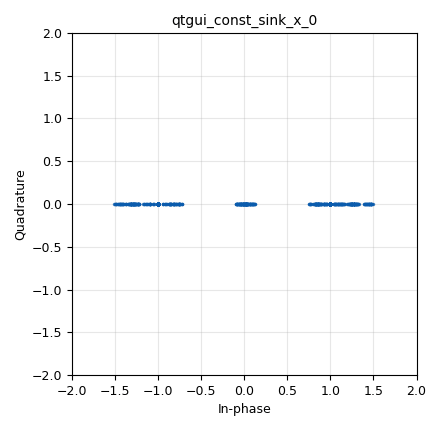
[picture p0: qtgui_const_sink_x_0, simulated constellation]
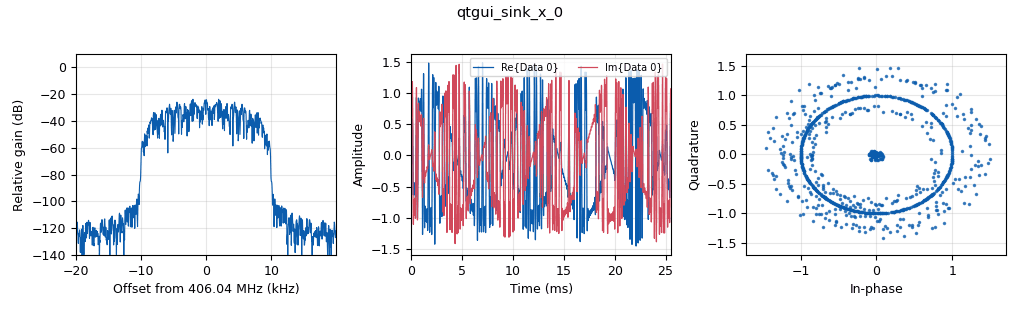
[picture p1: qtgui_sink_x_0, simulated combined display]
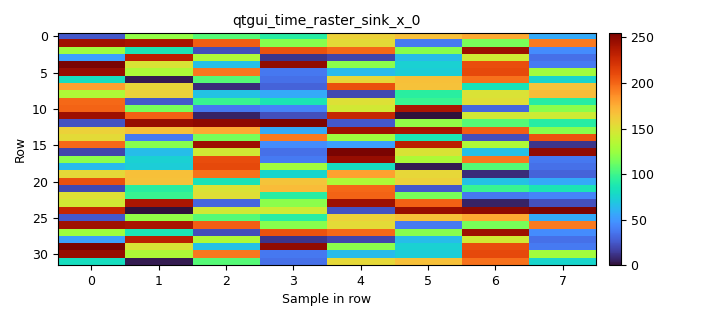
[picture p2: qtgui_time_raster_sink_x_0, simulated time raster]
options:
  parameters:
    generate_options: qt_gui
    id: top_block
    output_language: python
  states: {}

blocks:
- name: byte_rate
  id: variable
  parameters:
    value: '10000'
  states: {}
- name: my_bpsk
  id: variable_constellation
  parameters:
    const_points: '[-1-1j, 1+1j]'
    precision: '8'
    sym_map: '[0, 1]'
    type: bpsk
  states: {}
- name: plb_frequency
  id: variable
  parameters:
    value: '406040000'
  states: {}
- name: sps
  id: variable
  parameters:
    value: '4'
  states: {}
- name: analog_random_source_x_0
  id: analog_random_source_x
  parameters:
    max: '256'
    min: '0'
    num_samps: '100'
    repeat: 'True'
    type: byte
  states: {}
- name: analog_sig_source_x_0
  id: analog_sig_source_x
  parameters:
    amp: '1'
    freq: plb_frequency
    offset: '0'
    phase: '0'
    samp_rate: byte_rate
    type: complex
    waveform: analog.GR_SIN_WAVE
  states: {}
- name: blocks_file_sink_0
  id: blocks_file_sink
  parameters:
    file: /home/abraxas3d/Documents/Deviations/test_random_source.txt
    type: byte
  states: {state: disabled}
- name: blocks_multiply_xx_0
  id: blocks_multiply_xx
  parameters:
    type: complex
  states: {}
- name: blocks_throttle_0
  id: blocks_throttle
  parameters:
    samples_per_second: byte_rate
    type: byte
  states: {}
- name: digital_constellation_modulator_0
  id: digital_constellation_modulator
  parameters:
    constellation: my_bpsk
    differential: 'True'
    excess_bw: '1'
    samples_per_symbol: sps
  states: {}
- name: qtgui_const_sink_x_0
  id: qtgui_const_sink_x
  parameters:
    grid: 'True'
    size: '1024'
    type: complex
  states: {}
- name: qtgui_sink_x_0
  id: qtgui_sink_x
  parameters:
    bw: '40000'
    fc: plb_frequency
    fftsize: '1024'
    showports: 'True'
    showrf: 'True'
    type: complex
    wintype: firdes.WIN_BLACKMAN_hARRIS
  states: {}
- name: qtgui_time_raster_sink_x_0
  id: qtgui_time_raster_sink_x
  parameters:
    ncols: '8'
    nrows: '32'
    samp_rate: byte_rate
    type: byte
  states: {}

connections:
- [analog_random_source_x_0, '0', blocks_file_sink_0, '0']
- [analog_random_source_x_0, '0', blocks_throttle_0, '0']
- [analog_random_source_x_0, '0', qtgui_time_raster_sink_x_0, '0']
- [analog_sig_source_x_0, '0', blocks_multiply_xx_0, '0']
- [blocks_multiply_xx_0, '0', qtgui_sink_x_0, '0']
- [blocks_throttle_0, '0', digital_constellation_modulator_0, '0']
- [digital_constellation_modulator_0, '0', blocks_multiply_xx_0, '1']
- [digital_constellation_modulator_0, '0', qtgui_const_sink_x_0, '0']

metadata:
  file_format: 1
